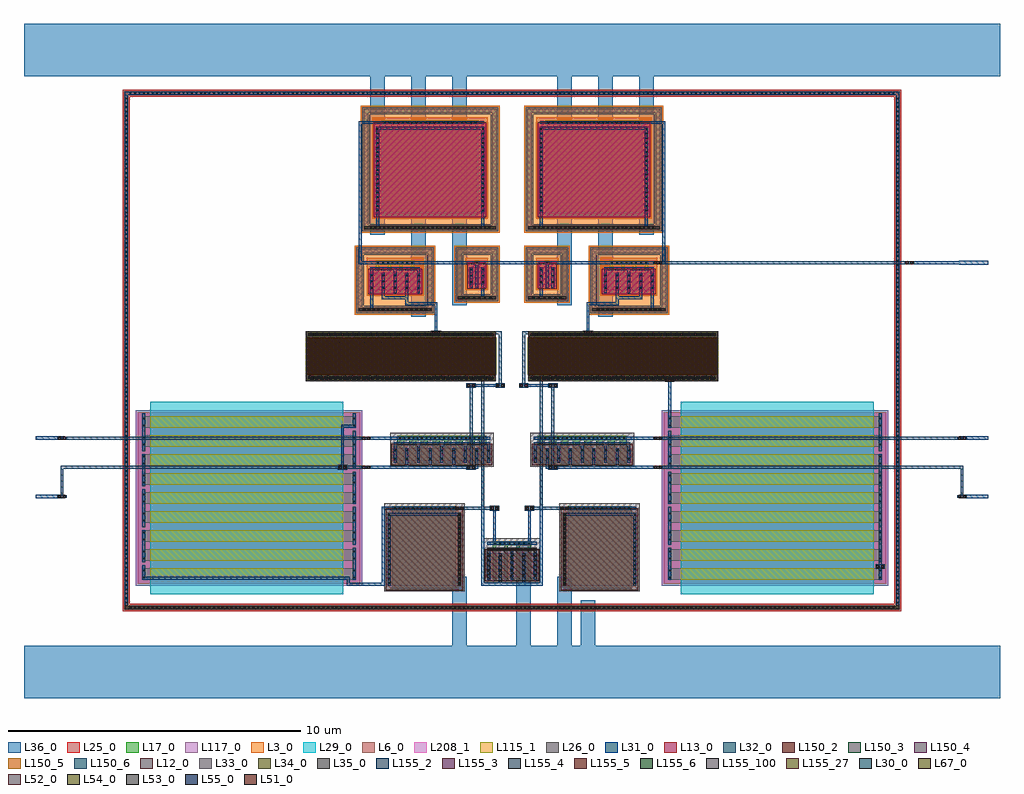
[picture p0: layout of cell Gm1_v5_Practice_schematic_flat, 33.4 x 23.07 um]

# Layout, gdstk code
import gdstk
lib = gdstk.Library(unit=1e-6, precision=1e-09)
def R(c, l, rs):  # rectangles x0, y0, x1, y1
    for r in rs: c.add(gdstk.rectangle(r[:2], r[2:], *l))
def A(c, l, x, y, w, h, nx, ny, dx, dy):  # array of equal rectangles
    R(c, l, [(x+i*dx, y+j*dy, x+i*dx+w, y+j*dy+h) for i in range(nx) for j in range(ny)])
L3_0 = (3, 0)
L6_0 = (6, 0)
L12_0 = (12, 0)
L13_0 = (13, 0)
L17_0 = (17, 0)
L25_0 = (25, 0)
L26_0 = (26, 0)
L29_0 = (29, 0)
L30_0 = (30, 0)
L31_0 = (31, 0)
L32_0 = (32, 0)
L33_0 = (33, 0)
L34_0 = (34, 0)
L35_0 = (35, 0)
L36_0 = (36, 0)
L51_0 = (51, 0)
L52_0 = (52, 0)
L53_0 = (53, 0)
L54_0 = (54, 0)
L55_0 = (55, 0)
L67_0 = (67, 0)
L115_1 = (115, 1)
L117_0 = (117, 0)
L150_2 = (150, 2)
L150_3 = (150, 3)
L150_4 = (150, 4)
L150_5 = (150, 5)
L150_6 = (150, 6)
L155_2 = (155, 2)
L155_3 = (155, 3)
L155_4 = (155, 4)
L155_5 = (155, 5)
L155_6 = (155, 6)
L155_27 = (155, 27)
L155_100 = (155, 100)
L208_1 = (208, 1)

gm1_v5_practice_schemati = lib.new_cell('Gm1_v5_Practice_schematic_flat')
R(gm1_v5_practice_schemati, L3_0, [(10.425,9.225,13.175,11.575), (18.425,9.225,21.175,11.575), (13.825,9.625,15.375,11.575), (16.225,9.625,17.775,11.575), (10.875,9.915,12.725,10.8), (18.875,9.915,20.725,10.8), (14.275,10.115,14.925,11), (16.675,10.115,17.325,11), (10.625,12.025,15.375,16.375), (16.225,12.025,20.975,16.375), (11.075,12.55,14.925,15.8), (16.675,12.55,20.525,15.8)])
A(gm1_v5_practice_schemati, L6_0, 13.925, 9.725, 0.15, 0.15, 4, 2, 1.2, 1.6)
A(gm1_v5_practice_schemati, L6_0, 13.925, 9.875, 0.15, 1.45, 4, 1, 1.2, 0)
R(gm1_v5_practice_schemati, L6_0, [(2.525,-0.875,2.675,-0.725), (2.675,-0.875,28.925,-0.725), (28.925,-0.875,29.075,-0.725), (2.525,-0.725,2.675,16.725), (28.925,-0.725,29.075,16.725), (11.525,-0.05,14.075,2.45), (17.525,-0.05,20.075,2.45), (14.925,0.245,16.675,1.05), (11.725,4.225,15.075,4.65), (16.525,4.225,19.875,4.65), (10.525,9.325,10.675,9.475), (10.675,9.325,12.925,9.475), (12.925,9.325,13.075,9.475), (18.525,9.325,18.675,9.475), (18.675,9.325,20.925,9.475), (20.925,9.325,21.075,9.475), (10.525,9.475,10.675,11.325), (12.925,9.475,13.075,11.325), (18.525,9.475,18.675,11.325), (20.925,9.475,21.075,11.325), (14.075,9.725,15.125,9.875), (16.475,9.725,17.525,9.875), (10.925,10.065,12.675,10.65), (18.925,10.065,20.675,10.65), (14.325,10.265,14.875,10.85), (16.725,10.265,17.275,10.85), (10.525,11.325,10.675,11.475), (10.675,11.325,12.925,11.475), (12.925,11.325,13.075,11.475), (14.075,11.325,15.125,11.475), (16.475,11.325,17.525,11.475), (18.525,11.325,18.675,11.475), (18.675,11.325,20.925,11.475), (20.925,11.325,21.075,11.475), (10.725,12.125,10.875,12.275), (10.875,12.125,15.125,12.275), (15.125,12.125,15.275,12.275), (16.325,12.125,16.475,12.275), (16.475,12.125,20.725,12.275), (20.725,12.125,20.875,12.275), (10.725,12.275,10.875,16.125), (15.125,12.275,15.275,16.125), (16.325,12.275,16.475,16.125), (20.725,12.275,20.875,16.125), (11.125,12.7,14.875,15.65), (16.725,12.7,20.475,15.65), (10.725,16.125,10.875,16.275), (10.875,16.125,15.125,16.275), (15.125,16.125,15.275,16.275), (16.325,16.125,16.475,16.275), (16.475,16.125,20.725,16.275), (20.725,16.125,20.875,16.275), (2.525,16.725,2.675,16.875), (2.675,16.725,28.925,16.875), (28.925,16.725,29.075,16.875)])
R(gm1_v5_practice_schemati, L12_0, [(11.475,-0.2,14.125,2.6), (17.475,-0.2,20.125,2.6), (11.675,4.075,15.125,4.8), (16.475,4.075,19.925,4.8)])
R(gm1_v5_practice_schemati, L13_0, [(10.875,9.915,12.725,10.8), (18.875,9.915,20.725,10.8), (14.275,10.115,14.925,11), (16.675,10.115,17.325,11), (11.075,12.55,14.925,15.8), (16.675,12.55,20.525,15.8)])
A(gm1_v5_practice_schemati, L17_0, 15.14, 0.145, 0.12, 1.005, 4, 1, 0.4, 0)
A(gm1_v5_practice_schemati, L17_0, 3.125, 0.15, 7.35, 0.4, 1, 9, 0, 0.65)
A(gm1_v5_practice_schemati, L17_0, 21.125, 0.15, 7.35, 0.4, 1, 9, 0, 0.65)
A(gm1_v5_practice_schemati, L17_0, 15.14, 1.05, 0.12, 0.3, 4, 1, 0.4, 0)
A(gm1_v5_practice_schemati, L17_0, 11.88, 4.125, 0.24, 0.625, 8, 1, 0.4, 0)
A(gm1_v5_practice_schemati, L17_0, 16.68, 4.125, 0.24, 0.625, 8, 1, 0.4, 0)
A(gm1_v5_practice_schemati, L17_0, 11.88, 4.65, 0.24, 0.3, 8, 1, 0.4, 0)
A(gm1_v5_practice_schemati, L17_0, 16.68, 4.65, 0.24, 0.3, 8, 1, 0.4, 0)
A(gm1_v5_practice_schemati, L17_0, 11.14, 9.965, 0.12, 0.785, 4, 1, 0.4, 0)
A(gm1_v5_practice_schemati, L17_0, 19.14, 9.965, 0.12, 0.785, 4, 1, 0.4, 0)
A(gm1_v5_practice_schemati, L17_0, 11.14, 10.65, 0.12, 0.3, 4, 1, 0.4, 0)
A(gm1_v5_practice_schemati, L17_0, 19.14, 10.65, 0.12, 0.3, 4, 1, 0.4, 0)
R(gm1_v5_practice_schemati, L17_0, [(11.7,-0.15,13.9,2.55), (17.7,-0.15,19.9,2.55), (15.14,1.325,16.46,1.475), (11.7,2.45,13.9,2.675), (17.7,2.45,19.9,2.675), (11.88,4.925,14.92,5.075), (16.68,4.925,19.72,5.075), (14.54,10.165,14.66,10.95), (16.94,10.165,17.06,10.95), (14.54,10.85,14.66,10.925), (16.94,10.85,17.06,10.925), (11.14,10.925,12.46,11.075), (14.525,10.925,14.675,11.075), (16.925,10.925,17.075,11.075), (19.14,10.925,20.46,11.075), (11.35,12.6,14.65,15.75), (16.95,12.6,20.25,15.75), (11.35,15.65,14.65,15.875), (16.95,15.65,20.25,15.875)])
R(gm1_v5_practice_schemati, L25_0, [(2.475,-0.925,2.725,-0.675), (2.675,-0.925,28.925,-0.675), (28.875,-0.925,29.125,-0.675), (2.475,-0.725,2.725,16.725), (28.875,-0.725,29.125,16.725), (2.985,0.01,10.615,5.89), (20.985,0.01,28.615,5.89), (10.825,9.865,12.775,11.175), (18.825,9.865,20.775,11.175), (14.225,10.065,14.975,11.175), (16.625,10.065,17.375,11.175), (11.025,12.5,14.975,15.975), (16.625,12.5,20.575,15.975), (2.475,16.675,2.725,16.925), (2.675,16.675,28.925,16.925), (28.875,16.675,29.125,16.925)])
A(gm1_v5_practice_schemati, L26_0, 13.875, 9.675, 0.25, 0.25, 4, 2, 1.2, 1.6)
A(gm1_v5_practice_schemati, L26_0, 13.875, 9.875, 0.25, 1.45, 4, 1, 1.2, 0)
R(gm1_v5_practice_schemati, L26_0, [(11.425,-0.25,14.175,2.775), (17.425,-0.25,20.175,2.775), (14.825,0.045,16.775,1.575), (11.625,4.025,15.175,5.175), (16.425,4.025,19.975,5.175), (10.475,9.275,10.725,9.525), (10.675,9.275,12.925,9.525), (12.875,9.275,13.125,9.525), (18.475,9.275,18.725,9.525), (18.675,9.275,20.925,9.525), (20.875,9.275,21.125,9.525), (10.475,9.475,10.725,11.325), (12.875,9.475,13.125,11.325), (18.475,9.475,18.725,11.325), (20.875,9.475,21.125,11.325), (14.075,9.675,15.125,9.925), (16.475,9.675,17.525,9.925), (10.475,11.275,10.725,11.525), (10.675,11.275,12.925,11.525), (12.875,11.275,13.125,11.525), (14.075,11.275,15.125,11.525), (16.475,11.275,17.525,11.525), (18.475,11.275,18.725,11.525), (18.675,11.275,20.925,11.525), (20.875,11.275,21.125,11.525), (10.675,12.075,10.925,12.325), (10.875,12.075,15.125,12.325), (15.075,12.075,15.325,12.325), (16.275,12.075,16.525,12.325), (16.475,12.075,20.725,12.325), (20.675,12.075,20.925,12.325), (10.675,12.275,10.925,16.125), (15.075,12.275,15.325,16.125), (16.275,12.275,16.525,16.125), (20.675,12.275,20.925,16.125), (10.675,16.075,10.925,16.325), (10.875,16.075,15.125,16.325), (15.075,16.075,15.325,16.325), (16.275,16.075,16.525,16.325), (16.475,16.075,20.725,16.325), (20.675,16.075,20.925,16.325)])
R(gm1_v5_practice_schemati, L29_0, [(3.425,-0.35,10.025,6.25), (21.575,-0.35,28.175,6.25)])
A(gm1_v5_practice_schemati, L30_0, 2.725, -0.825, 0.05, 0.05, 175, 2, 0.15, 17.6)
A(gm1_v5_practice_schemati, L30_0, 2.575, -0.65, 0.05, 0.05, 1, 116, 0, 0.15)
A(gm1_v5_practice_schemati, L30_0, 28.975, -0.65, 0.05, 0.05, 1, 116, 0, 0.15)
A(gm1_v5_practice_schemati, L30_0, 11.575, 0.01, 0.05, 0.05, 1, 16, 0, 0.155)
A(gm1_v5_practice_schemati, L30_0, 13.975, 0.01, 0.05, 0.05, 1, 16, 0, 0.155)
A(gm1_v5_practice_schemati, L30_0, 17.575, 0.01, 0.05, 0.05, 1, 16, 0, 0.155)
A(gm1_v5_practice_schemati, L30_0, 19.975, 0.01, 0.05, 0.05, 1, 16, 0, 0.155)
A(gm1_v5_practice_schemati, L30_0, 14.975, 0.3, 0.05, 0.05, 5, 5, 0.4, 0.16)
A(gm1_v5_practice_schemati, L30_0, 15.195, 1.375, 0.05, 0.05, 8, 1, 0.165, 0)
A(gm1_v5_practice_schemati, L30_0, 11.765, 2.575, 0.05, 0.05, 14, 1, 0.155, 0)
A(gm1_v5_practice_schemati, L30_0, 17.77, 2.575, 0.05, 0.05, 14, 1, 0.155, 0)
A(gm1_v5_practice_schemati, L30_0, 11.775, 4.275, 0.05, 0.05, 9, 2, 0.4, 0.275)
A(gm1_v5_practice_schemati, L30_0, 16.575, 4.275, 0.05, 0.05, 9, 2, 0.4, 0.275)
A(gm1_v5_practice_schemati, L30_0, 11.945, 4.975, 0.05, 0.05, 20, 1, 0.15, 0)
A(gm1_v5_practice_schemati, L30_0, 16.755, 4.975, 0.05, 0.05, 20, 1, 0.15, 0)
A(gm1_v5_practice_schemati, L30_0, 10.735, 9.375, 0.05, 0.05, 14, 1, 0.16, 0)
A(gm1_v5_practice_schemati, L30_0, 18.735, 9.375, 0.05, 0.05, 14, 1, 0.16, 0)
A(gm1_v5_practice_schemati, L30_0, 14.125, 9.775, 0.05, 0.05, 6, 1, 0.18, 0)
A(gm1_v5_practice_schemati, L30_0, 16.525, 9.775, 0.05, 0.05, 6, 1, 0.18, 0)
A(gm1_v5_practice_schemati, L30_0, 10.975, 10.115, 0.05, 0.05, 5, 3, 0.4, 0.215)
A(gm1_v5_practice_schemati, L30_0, 18.975, 10.115, 0.05, 0.05, 5, 3, 0.4, 0.215)
A(gm1_v5_practice_schemati, L30_0, 14.375, 10.315, 0.05, 0.05, 1, 3, 0, 0.215)
A(gm1_v5_practice_schemati, L30_0, 14.775, 10.315, 0.05, 0.05, 1, 3, 0, 0.215)
A(gm1_v5_practice_schemati, L30_0, 16.775, 10.315, 0.05, 0.05, 1, 3, 0, 0.215)
A(gm1_v5_practice_schemati, L30_0, 17.175, 10.315, 0.05, 0.05, 1, 3, 0, 0.215)
A(gm1_v5_practice_schemati, L30_0, 11.195, 10.975, 0.05, 0.05, 8, 1, 0.165, 0)
A(gm1_v5_practice_schemati, L30_0, 19.2, 10.975, 0.05, 0.05, 8, 1, 0.165, 0)
A(gm1_v5_practice_schemati, L30_0, 10.95, 12.175, 0.05, 0.05, 28, 1, 0.15, 0)
A(gm1_v5_practice_schemati, L30_0, 16.55, 12.175, 0.05, 0.05, 28, 1, 0.15, 0)
A(gm1_v5_practice_schemati, L30_0, 11.175, 12.755, 0.05, 0.05, 1, 19, 0, 0.155)
A(gm1_v5_practice_schemati, L30_0, 14.775, 12.755, 0.05, 0.05, 1, 19, 0, 0.155)
A(gm1_v5_practice_schemati, L30_0, 16.775, 12.755, 0.05, 0.05, 1, 19, 0, 0.155)
A(gm1_v5_practice_schemati, L30_0, 20.375, 12.755, 0.05, 0.05, 1, 19, 0, 0.155)
A(gm1_v5_practice_schemati, L30_0, 11.42, 15.775, 0.05, 0.05, 21, 1, 0.155, 0)
A(gm1_v5_practice_schemati, L30_0, 17.03, 15.775, 0.05, 0.05, 21, 1, 0.155, 0)
R(gm1_v5_practice_schemati, L30_0, [(3.175,0.2,3.225,0.25), (10.375,0.2,10.425,0.25), (21.175,0.2,21.225,0.25), (28.375,0.2,28.425,0.25), (3.175,0.45,3.225,0.5), (10.375,0.45,10.425,0.5), (21.175,0.45,21.225,0.5), (28.375,0.45,28.425,0.5), (3.175,0.85,3.225,0.9), (10.375,0.85,10.425,0.9), (21.175,0.85,21.225,0.9), (28.375,0.85,28.425,0.9), (3.175,1.1,3.225,1.15), (10.375,1.1,10.425,1.15), (21.175,1.1,21.225,1.15), (28.375,1.1,28.425,1.15), (3.175,1.5,3.225,1.55), (10.375,1.5,10.425,1.55), (21.175,1.5,21.225,1.55), (28.375,1.5,28.425,1.55), (3.175,1.75,3.225,1.8), (10.375,1.75,10.425,1.8), (21.175,1.75,21.225,1.8), (28.375,1.75,28.425,1.8), (3.175,2.15,3.225,2.2), (10.375,2.15,10.425,2.2), (21.175,2.15,21.225,2.2), (28.375,2.15,28.425,2.2), (3.175,2.4,3.225,2.45), (10.375,2.4,10.425,2.45), (21.175,2.4,21.225,2.45), (28.375,2.4,28.425,2.45), (3.175,2.8,3.225,2.85), (10.375,2.8,10.425,2.85), (21.175,2.8,21.225,2.85), (28.375,2.8,28.425,2.85), (3.175,3.05,3.225,3.1), (10.375,3.05,10.425,3.1), (21.175,3.05,21.225,3.1), (28.375,3.05,28.425,3.1), (3.175,3.45,3.225,3.5), (10.375,3.45,10.425,3.5), (21.175,3.45,21.225,3.5), (28.375,3.45,28.425,3.5), (3.175,3.7,3.225,3.75), (10.375,3.7,10.425,3.75), (21.175,3.7,21.225,3.75), (28.375,3.7,28.425,3.75), (3.175,4.1,3.225,4.15), (10.375,4.1,10.425,4.15), (21.175,4.1,21.225,4.15), (28.375,4.1,28.425,4.15), (3.175,4.35,3.225,4.4), (10.375,4.35,10.425,4.4), (21.175,4.35,21.225,4.4), (28.375,4.35,28.425,4.4), (3.175,4.75,3.225,4.8), (10.375,4.75,10.425,4.8), (21.175,4.75,21.225,4.8), (28.375,4.75,28.425,4.8), (3.175,5,3.225,5.05), (10.375,5,10.425,5.05), (21.175,5,21.225,5.05), (28.375,5,28.425,5.05), (3.175,5.4,3.225,5.45), (10.375,5.4,10.425,5.45), (21.175,5.4,21.225,5.45), (28.375,5.4,28.425,5.45), (3.175,5.65,3.225,5.7), (10.375,5.65,10.425,5.7), (21.175,5.65,21.225,5.7), (28.375,5.65,28.425,5.7), (14.575,10.975,14.625,11.025), (16.975,10.975,17.025,11.025)])
A(gm1_v5_practice_schemati, L31_0, 14.95, 0.15, 0.1, 0.9, 5, 1, 0.4, 0)
A(gm1_v5_practice_schemati, L31_0, 14.95, 0.245, 0.1, 0.805, 5, 1, 0.4, 0)
A(gm1_v5_practice_schemati, L31_0, 14.95, 1.05, 0.1, 0.1, 3, 1, 0.8, 0)
A(gm1_v5_practice_schemati, L31_0, 12.15, 4.05, 0.1, 0.1, 4, 1, 0.8, 0)
A(gm1_v5_practice_schemati, L31_0, 16.95, 4.05, 0.1, 0.1, 4, 1, 0.8, 0)
A(gm1_v5_practice_schemati, L31_0, 11.75, 4.15, 0.1, 0.5, 9, 1, 0.4, 0)
A(gm1_v5_practice_schemati, L31_0, 16.55, 4.15, 0.1, 0.5, 9, 1, 0.4, 0)
A(gm1_v5_practice_schemati, L31_0, 11.75, 4.225, 0.1, 0.425, 9, 1, 0.4, 0)
A(gm1_v5_practice_schemati, L31_0, 16.55, 4.225, 0.1, 0.425, 9, 1, 0.4, 0)
A(gm1_v5_practice_schemati, L31_0, 11.75, 4.65, 0.1, 0.1, 5, 1, 0.8, 0)
A(gm1_v5_practice_schemati, L31_0, 16.55, 4.65, 0.1, 0.1, 5, 1, 0.8, 0)
A(gm1_v5_practice_schemati, L31_0, 13.95, 9.75, 0.1, 0.1, 4, 1, 1.2, 0)
A(gm1_v5_practice_schemati, L31_0, 10.95, 9.95, 0.1, 0.7, 5, 1, 0.4, 0)
A(gm1_v5_practice_schemati, L31_0, 18.95, 9.95, 0.1, 0.7, 5, 1, 0.4, 0)
A(gm1_v5_practice_schemati, L31_0, 10.95, 10.065, 0.1, 0.585, 5, 1, 0.4, 0)
A(gm1_v5_practice_schemati, L31_0, 18.95, 10.065, 0.1, 0.585, 5, 1, 0.4, 0)
A(gm1_v5_practice_schemati, L31_0, 10.95, 10.65, 0.1, 0.1, 3, 1, 0.8, 0)
A(gm1_v5_practice_schemati, L31_0, 18.95, 10.65, 0.1, 0.1, 3, 1, 0.8, 0)
R(gm1_v5_practice_schemati, L31_0, [(2.55,-0.85,2.65,-0.75), (2.65,-0.85,2.675,-0.75), (2.675,-0.85,28.925,-0.75), (28.925,-0.85,28.95,-0.75), (28.95,-0.85,29.05,-0.75), (2.55,-0.75,2.65,-0.725), (28.95,-0.75,29.05,-0.725), (2.55,-0.725,2.65,16.725), (28.95,-0.725,29.05,16.725), (10.15,-0.05,10.25,0.25), (10.15,-0.05,11.45,0.05), (11.35,-0.05,11.45,2.65), (11.55,-0.05,11.65,2.45), (11.55,-0.05,11.65,2.45), (13.95,-0.05,14.05,2.45), (13.95,-0.05,14.05,2.45), (14.75,-0.05,15.45,0.05), (14.75,-0.05,14.85,4.85), (15.35,-0.05,16.25,0.05), (16.15,-0.05,16.85,0.05), (16.75,-0.05,16.85,4.85), (17.55,-0.05,17.65,2.45), (17.55,-0.05,17.65,2.45), (19.95,-0.05,20.05,2.45), (19.95,-0.05,20.05,2.45), (15.35,0.05,15.45,0.15), (16.15,0.05,16.25,0.15), (3.15,0.15,3.25,0.55), (3.15,0.15,3.25,0.55), (3.15,0.15,3.25,0.65), (3.15,0.15,10.25,0.25), (10.35,0.15,10.45,0.55), (10.35,0.15,10.45,0.55), (10.35,0.15,10.45,1.25), (21.15,0.15,21.25,0.55), (21.15,0.15,21.25,0.55), (21.15,0.15,21.25,1.25), (28.35,0.15,28.45,0.55), (28.35,0.15,28.45,0.55), (28.35,0.15,28.45,0.65), (28.24,0.52,28.56,0.68), (3.15,0.75,3.25,1.85), (28.35,0.75,28.45,1.85), (3.15,0.8,3.25,1.2), (3.15,0.8,3.25,1.2), (10.35,0.8,10.45,1.2), (10.35,0.8,10.45,1.2), (21.15,0.8,21.25,1.2), (21.15,0.8,21.25,1.2), (28.35,0.8,28.45,1.2), (28.35,0.8,28.45,1.2), (14.95,1.15,16.65,1.25), (10.35,1.35,10.45,2.65), (14.95,1.35,16.65,1.45), (15.14,1.35,16.46,1.45), (15.15,1.35,15.25,2.65), (16.35,1.35,16.45,2.65), (21.15,1.35,21.25,2.65), (3.15,1.45,3.25,1.85), (3.15,1.45,3.25,1.85), (10.35,1.45,10.45,1.85), (10.35,1.45,10.45,1.85), (21.15,1.45,21.25,1.85), (21.15,1.45,21.25,1.85), (28.35,1.45,28.45,1.85), (28.35,1.45,28.45,1.85), (3.15,1.95,3.25,3.25), (28.35,1.95,28.45,3.25), (3.15,2.1,3.25,2.5), (3.15,2.1,3.25,2.5), (10.35,2.1,10.45,2.5), (10.35,2.1,10.45,2.5), (21.15,2.1,21.25,2.5), (21.15,2.1,21.25,2.5), (28.35,2.1,28.45,2.5), (28.35,2.1,28.45,2.5), (11.55,2.35,14.05,2.45), (17.55,2.35,20.05,2.45), (15.04,2.52,15.36,2.68), (16.24,2.52,16.56,2.68), (11.35,2.55,11.65,2.65), (11.55,2.55,14.05,2.65), (11.7,2.55,13.9,2.65), (13.84,2.55,14.16,2.65), (17.44,2.55,17.76,2.65), (17.55,2.55,20.05,2.65), (17.7,2.55,19.9,2.65), (3.15,2.75,3.25,3.15), (3.15,2.75,3.25,3.15), (10.35,2.75,10.45,3.15), (10.35,2.75,10.45,3.15), (10.35,2.75,10.45,3.85), (21.15,2.75,21.25,3.15), (21.15,2.75,21.25,3.15), (21.15,2.75,21.25,3.85), (28.35,2.75,28.45,3.15), (28.35,2.75,28.45,3.15), (-0.5,2.935,0.5,3.065), (31.1,2.935,32.1,3.065), (0.24,2.95,0.56,3.05), (31.04,2.95,31.36,3.05), (3.15,3.35,3.25,4.45), (28.35,3.35,28.45,4.45), (3.15,3.4,3.25,3.8), (3.15,3.4,3.25,3.8), (10.35,3.4,10.45,3.8), (10.35,3.4,10.45,3.8), (21.15,3.4,21.25,3.8), (21.15,3.4,21.25,3.8), (28.35,3.4,28.45,3.8), (28.35,3.4,28.45,3.8), (9.84,3.92,10.16,4.08), (14.24,3.92,14.56,4.08), (17.04,3.92,17.36,4.08), (9.95,3.95,10.05,5.45), (10.35,3.95,10.45,5.25), (10.64,3.95,10.96,4.05), (10.75,3.95,12.25,4.05), (12.15,3.95,14.65,4.05), (16.95,3.95,19.45,4.05), (19.35,3.95,20.85,4.05), (20.64,3.95,20.96,4.05), (21.15,3.95,21.25,5.25), (3.15,4.05,3.25,4.45), (3.15,4.05,3.25,4.45), (10.35,4.05,10.45,4.45), (10.35,4.05,10.45,4.45), (21.15,4.05,21.25,4.45), (21.15,4.05,21.25,4.45), (28.35,4.05,28.45,4.45), (28.35,4.05,28.45,4.45), (3.15,4.55,3.25,5.85), (28.35,4.55,28.45,5.85), (3.15,4.7,3.25,5.1), (3.15,4.7,3.25,5.1), (10.35,4.7,10.45,5.1), (10.35,4.7,10.45,5.1), (21.15,4.7,21.25,5.1), (21.15,4.7,21.25,5.1), (28.35,4.7,28.45,5.1), (28.35,4.7,28.45,5.1), (11.75,4.75,15.05,4.85), (16.55,4.75,19.85,4.85), (-0.5,4.935,0.5,5.065), (31.1,4.935,32.1,5.065), (0.24,4.95,0.56,5.05), (10.64,4.95,10.96,5.05), (10.75,4.95,11.85,5.05), (11.75,4.95,15.05,5.05), (11.88,4.95,14.92,5.05), (16.55,4.95,19.85,5.05), (16.68,4.95,19.72,5.05), (19.75,4.95,20.85,5.05), (20.64,4.95,20.96,5.05), (31.04,4.95,31.36,5.05), (3.15,5.35,3.25,5.75), (3.15,5.35,3.25,5.75), (9.95,5.35,10.45,5.45), (10.35,5.35,10.45,5.75), (10.35,5.35,10.45,5.75), (10.35,5.35,10.45,5.85), (21.15,5.35,21.25,5.75), (21.15,5.35,21.25,5.75), (21.15,5.35,21.25,5.85), (28.35,5.35,28.45,5.75), (28.35,5.35,28.45,5.75), (21.15,5.75,21.25,7.05), (14.24,6.72,14.56,6.88), (15.24,6.72,15.56,6.88), (16.04,6.72,16.36,6.88), (17.04,6.72,17.36,6.88), (14.35,6.75,15.45,6.85), (16.15,6.75,17.25,6.85), (21.04,6.92,21.36,7.08), (13.04,8.52,13.36,8.68), (18.24,8.52,18.56,8.68), (13.15,8.55,13.25,9.65), (18.35,8.55,18.45,9.65), (10.55,9.35,10.65,9.45), (10.65,9.35,10.675,9.45), (10.675,9.35,12.925,9.45), (10.95,9.35,11.05,10.75), (12.925,9.35,12.95,9.45), (12.95,9.35,13.05,9.45), (18.55,9.35,18.65,9.45), (18.65,9.35,18.675,9.45), (18.675,9.35,20.925,9.45), (20.55,9.35,20.65,10.75), (20.925,9.35,20.95,9.45), (20.95,9.35,21.05,9.45), (12.15,9.55,13.25,9.65), (12.15,9.55,12.25,9.85), (18.35,9.55,19.45,9.65), (19.35,9.55,19.45,9.85), (11.35,9.75,12.25,9.85), (14.05,9.75,14.075,9.85), (14.075,9.75,15.125,9.85), (14.75,9.75,14.85,10.15), (15.125,9.75,15.15,9.85), (16.45,9.75,16.475,9.85), (16.475,9.75,17.525,9.85), (16.75,9.75,16.85,10.15), (17.525,9.75,17.55,9.85), (19.35,9.75,20.25,9.85), (11.35,9.85,11.45,9.95), (12.15,9.85,12.25,9.95), (19.35,9.85,19.45,9.95), (20.15,9.85,20.25,9.95), (14.35,10.15,14.45,10.85), (14.55,10.15,14.65,11.05), (14.75,10.15,14.85,10.85), (16.75,10.15,16.85,10.85), (16.95,10.15,17.05,11.05), (17.15,10.15,17.25,10.85), (14.35,10.265,14.45,10.85), (14.75,10.265,14.85,10.85), (16.75,10.265,16.85,10.85), (17.15,10.265,17.25,10.85), (10.95,10.75,12.65,10.85), (18.95,10.75,20.65,10.85), (31.1,10.935,32.1,11.065), (10.55,10.95,11.05,11.05), (10.55,10.95,10.65,15.85), (10.95,10.95,12.65,11.05), (11.14,10.95,12.46,11.05), (12.55,10.95,14.45,11.05), (14.35,10.95,14.85,11.05), (14.75,10.95,15.85,11.05), (15.75,10.95,16.85,11.05), (16.75,10.95,17.25,11.05), (17.15,10.95,19.05,11.05), (18.95,10.95,20.65,11.05), (19.14,10.95,20.46,11.05), (20.55,10.95,21.05,11.05), (20.64,10.95,20.96,11.05), (20.95,10.95,21.05,15.85), (29.24,10.95,29.56,11.05), (29.35,10.95,31.25,11.05), (10.75,12.15,10.85,12.25), (10.85,12.15,10.875,12.25), (10.875,12.15,15.125,12.25), (11.15,12.15,11.25,12.55), (14.75,12.15,14.85,15.65), (15.125,12.15,15.15,12.25), (15.15,12.15,15.25,12.25), (16.35,12.15,16.45,12.25), (16.45,12.15,16.475,12.25), (16.475,12.15,20.725,12.25), (16.75,12.15,16.85,15.65), (20.35,12.15,20.45,12.55), (20.725,12.15,20.75,12.25), (20.75,12.15,20.85,12.25), (11.15,12.55,11.25,15.65), (14.75,12.55,14.85,15.65), (16.75,12.55,16.85,15.65), (20.35,12.55,20.45,15.65), (11.15,12.7,11.25,15.65), (14.75,12.7,14.85,15.65), (16.75,12.7,16.85,15.65), (20.35,12.7,20.45,15.65), (11.15,15.55,14.85,15.65), (16.75,15.55,20.45,15.65), (10.55,15.75,11.25,15.85), (11.15,15.75,14.85,15.85), (11.35,15.75,14.65,15.85), (16.75,15.75,20.45,15.85), (16.95,15.75,20.25,15.85), (20.35,15.75,21.05,15.85), (2.55,16.725,2.65,16.75), (28.95,16.725,29.05,16.75), (2.55,16.75,2.65,16.85), (2.65,16.75,2.675,16.85), (2.675,16.75,28.925,16.85), (28.925,16.75,28.95,16.85), (28.95,16.75,29.05,16.85)])
A(gm1_v5_practice_schemati, L32_0, 8.75, 7.16, 0.07, 0.14, 23, 1, 0.28, 0)
A(gm1_v5_practice_schemati, L32_0, 16.62, 7.16, 0.07, 0.14, 23, 1, 0.28, 0)
A(gm1_v5_practice_schemati, L32_0, 8.75, 7.3, 0.07, 1, 46, 1, 0.14, 0)
A(gm1_v5_practice_schemati, L32_0, 16.48, 7.3, 0.07, 1, 46, 1, 0.14, 0)
A(gm1_v5_practice_schemati, L32_0, 8.89, 8.3, 0.07, 0.14, 23, 1, 0.28, 0)
A(gm1_v5_practice_schemati, L32_0, 16.48, 8.3, 0.07, 0.14, 23, 1, 0.28, 0)
A(gm1_v5_practice_schemati, L32_0, 13.95, 9.75, 0.1, 0.1, 4, 1, 1.2, 0)
R(gm1_v5_practice_schemati, L32_0, [(2.55,-0.85,2.65,-0.75), (2.65,-0.85,2.675,-0.75), (2.675,-0.85,28.925,-0.75), (28.925,-0.85,28.95,-0.75), (28.95,-0.85,29.05,-0.75), (2.55,-0.75,2.65,-0.725), (28.95,-0.75,29.05,-0.725), (13.95,-0.05,14.05,2.45), (17.55,-0.05,17.65,2.45), (28.24,0.52,28.56,0.68), (28.35,0.55,28.45,4.05), (14.95,1.15,16.65,1.25), (15.04,2.52,15.36,2.68), (16.24,2.52,16.56,2.68), (13.84,2.55,14.16,2.65), (13.95,2.55,15.25,2.65), (14.75,2.55,14.85,7.05), (16.35,2.55,17.65,2.65), (16.75,2.55,16.85,7.05), (17.44,2.55,17.76,2.65), (0.24,2.95,0.56,3.05), (0.35,2.95,0.45,4.05), (31.04,2.95,31.36,3.05), (31.15,2.95,31.25,4.05), (9.84,3.92,10.16,4.08), (14.24,3.92,14.56,4.08), (17.04,3.92,17.36,4.08), (0.35,3.95,10.85,4.05), (10.64,3.95,10.96,4.05), (14.35,3.95,14.45,6.85), (17.15,3.95,17.25,6.85), (20.64,3.95,20.96,4.05), (20.75,3.95,31.25,4.05), (0.24,4.95,0.56,5.05), (0.35,4.95,10.85,5.05), (10.64,4.95,10.96,5.05), (20.64,4.95,20.96,5.05), (20.75,4.95,31.25,5.05), (31.04,4.95,31.36,5.05), (14.24,6.72,14.56,6.88), (15.24,6.72,15.56,6.88), (16.04,6.72,16.36,6.88), (17.04,6.72,17.36,6.88), (15.35,6.75,15.45,8.65), (16.15,6.75,16.25,8.65), (21.04,6.92,21.36,7.08), (8.75,6.95,15.25,7.16), (16.35,6.95,22.85,7.16), (8.75,8.44,15.25,8.65), (16.35,8.44,22.85,8.65), (13.04,8.52,13.36,8.68), (18.24,8.52,18.56,8.68), (15.15,8.55,15.45,8.65), (16.15,8.55,16.45,8.65), (10.55,9.35,10.65,9.45), (10.65,9.35,10.675,9.45), (10.675,9.35,12.925,9.45), (12.925,9.35,12.95,9.45), (12.95,9.35,13.05,9.45), (18.55,9.35,18.65,9.45), (18.65,9.35,18.675,9.45), (18.675,9.35,20.925,9.45), (20.925,9.35,20.95,9.45), (20.95,9.35,21.05,9.45), (14.05,9.75,14.075,9.85), (14.075,9.75,15.125,9.85), (15.125,9.75,15.15,9.85), (16.45,9.75,16.475,9.85), (16.475,9.75,17.525,9.85), (17.525,9.75,17.55,9.85), (20.64,10.95,20.96,11.05), (20.75,10.95,29.45,11.05), (29.24,10.95,29.56,11.05), (10.75,12.15,10.85,12.25), (10.85,12.15,10.875,12.25), (10.875,12.15,15.125,12.25), (15.125,12.15,15.15,12.25), (15.15,12.15,15.25,12.25), (16.35,12.15,16.45,12.25), (16.45,12.15,16.475,12.25), (16.475,12.15,20.725,12.25), (20.725,12.15,20.75,12.25), (20.75,12.15,20.85,12.25)])
A(gm1_v5_practice_schemati, L33_0, 8.75, 7.16, 0.07, 0.14, 23, 1, 0.28, 0)
A(gm1_v5_practice_schemati, L33_0, 16.62, 7.16, 0.07, 0.14, 23, 1, 0.28, 0)
A(gm1_v5_practice_schemati, L33_0, 8.75, 7.3, 0.07, 1, 46, 1, 0.14, 0)
A(gm1_v5_practice_schemati, L33_0, 16.48, 7.3, 0.07, 1, 46, 1, 0.14, 0)
A(gm1_v5_practice_schemati, L33_0, 8.89, 8.3, 0.07, 0.14, 23, 1, 0.28, 0)
A(gm1_v5_practice_schemati, L33_0, 16.48, 8.3, 0.07, 0.14, 23, 1, 0.28, 0)
A(gm1_v5_practice_schemati, L33_0, 13.95, 9.75, 0.1, 0.1, 4, 1, 1.2, 0)
R(gm1_v5_practice_schemati, L33_0, [(2.55,-0.85,2.65,-0.75), (2.65,-0.85,2.675,-0.75), (2.675,-0.85,28.925,-0.75), (28.925,-0.85,28.95,-0.75), (28.95,-0.85,29.05,-0.75), (2.55,-0.75,2.65,-0.725), (28.95,-0.75,29.05,-0.725), (13.95,-0.05,14.05,2.45), (17.55,-0.05,17.65,2.45), (14.95,1.15,16.65,1.25), (8.75,6.95,15.25,7.16), (16.35,6.95,22.85,7.16), (8.75,8.44,15.25,8.65), (16.35,8.44,22.85,8.65), (10.55,9.35,10.65,9.45), (10.65,9.35,10.675,9.45), (10.675,9.35,12.925,9.45), (12.925,9.35,12.95,9.45), (12.95,9.35,13.05,9.45), (18.55,9.35,18.65,9.45), (18.65,9.35,18.675,9.45), (18.675,9.35,20.925,9.45), (20.925,9.35,20.95,9.45), (20.95,9.35,21.05,9.45), (14.05,9.75,14.075,9.85), (14.075,9.75,15.125,9.85), (15.125,9.75,15.15,9.85), (16.45,9.75,16.475,9.85), (16.475,9.75,17.525,9.85), (17.525,9.75,17.55,9.85), (10.75,12.15,10.85,12.25), (10.85,12.15,10.875,12.25), (10.875,12.15,15.125,12.25), (15.125,12.15,15.15,12.25), (15.15,12.15,15.25,12.25), (16.35,12.15,16.45,12.25), (16.45,12.15,16.475,12.25), (16.475,12.15,20.725,12.25), (20.725,12.15,20.75,12.25), (20.75,12.15,20.85,12.25)])
A(gm1_v5_practice_schemati, L34_0, 8.75, 7.16, 0.07, 0.14, 23, 1, 0.28, 0)
A(gm1_v5_practice_schemati, L34_0, 16.62, 7.16, 0.07, 0.14, 23, 1, 0.28, 0)
A(gm1_v5_practice_schemati, L34_0, 8.75, 7.3, 0.07, 1, 46, 1, 0.14, 0)
A(gm1_v5_practice_schemati, L34_0, 16.48, 7.3, 0.07, 1, 46, 1, 0.14, 0)
A(gm1_v5_practice_schemati, L34_0, 8.89, 8.3, 0.07, 0.14, 23, 1, 0.28, 0)
A(gm1_v5_practice_schemati, L34_0, 16.48, 8.3, 0.07, 0.14, 23, 1, 0.28, 0)
A(gm1_v5_practice_schemati, L34_0, 13.95, 9.75, 0.1, 0.1, 4, 1, 1.2, 0)
R(gm1_v5_practice_schemati, L34_0, [(2.55,-0.85,2.65,-0.75), (2.65,-0.85,2.675,-0.75), (2.675,-0.85,28.925,-0.75), (28.925,-0.85,28.95,-0.75), (28.95,-0.85,29.05,-0.75), (2.55,-0.75,2.65,-0.725), (28.95,-0.75,29.05,-0.725), (13.95,-0.05,14.05,2.45), (17.55,-0.05,17.65,2.45), (14.95,1.15,16.65,1.25), (8.75,6.95,15.25,7.16), (16.35,6.95,22.85,7.16), (8.75,8.44,15.25,8.65), (16.35,8.44,22.85,8.65), (10.55,9.35,10.65,9.45), (10.65,9.35,10.675,9.45), (10.675,9.35,12.925,9.45), (12.925,9.35,12.95,9.45), (12.95,9.35,13.05,9.45), (18.55,9.35,18.65,9.45), (18.65,9.35,18.675,9.45), (18.675,9.35,20.925,9.45), (20.925,9.35,20.95,9.45), (20.95,9.35,21.05,9.45), (14.05,9.75,14.075,9.85), (14.075,9.75,15.125,9.85), (15.125,9.75,15.15,9.85), (16.45,9.75,16.475,9.85), (16.475,9.75,17.525,9.85), (17.525,9.75,17.55,9.85), (10.75,12.15,10.85,12.25), (10.85,12.15,10.875,12.25), (10.875,12.15,15.125,12.25), (15.125,12.15,15.15,12.25), (15.15,12.15,15.25,12.25), (16.35,12.15,16.45,12.25), (16.45,12.15,16.475,12.25), (16.475,12.15,20.725,12.25), (20.725,12.15,20.75,12.25), (20.75,12.15,20.85,12.25)])
A(gm1_v5_practice_schemati, L35_0, 8.75, 7.16, 0.07, 0.14, 23, 1, 0.28, 0)
A(gm1_v5_practice_schemati, L35_0, 16.62, 7.16, 0.07, 0.14, 23, 1, 0.28, 0)
A(gm1_v5_practice_schemati, L35_0, 8.75, 7.3, 0.07, 1, 46, 1, 0.14, 0)
A(gm1_v5_practice_schemati, L35_0, 16.48, 7.3, 0.07, 1, 46, 1, 0.14, 0)
A(gm1_v5_practice_schemati, L35_0, 8.89, 8.3, 0.07, 0.14, 23, 1, 0.28, 0)
A(gm1_v5_practice_schemati, L35_0, 16.48, 8.3, 0.07, 0.14, 23, 1, 0.28, 0)
A(gm1_v5_practice_schemati, L35_0, 13.95, 9.75, 0.1, 0.1, 4, 1, 1.2, 0)
R(gm1_v5_practice_schemati, L35_0, [(2.55,-0.85,2.65,-0.75), (2.65,-0.85,2.675,-0.75), (2.675,-0.85,28.925,-0.75), (28.925,-0.85,28.95,-0.75), (28.95,-0.85,29.05,-0.75), (2.55,-0.75,2.65,-0.725), (28.95,-0.75,29.05,-0.725), (13.95,-0.05,14.05,2.45), (17.55,-0.05,17.65,2.45), (14.95,1.15,16.65,1.25), (8.75,6.95,15.25,7.16), (16.35,6.95,22.85,7.16), (8.75,8.44,15.25,8.65), (16.35,8.44,22.85,8.65), (10.55,9.35,10.65,9.45), (10.65,9.35,10.675,9.45), (10.675,9.35,12.925,9.45), (12.925,9.35,12.95,9.45), (12.95,9.35,13.05,9.45), (18.55,9.35,18.65,9.45), (18.65,9.35,18.675,9.45), (18.675,9.35,20.925,9.45), (20.925,9.35,20.95,9.45), (20.95,9.35,21.05,9.45), (14.05,9.75,14.075,9.85), (14.075,9.75,15.125,9.85), (15.125,9.75,15.15,9.85), (16.45,9.75,16.475,9.85), (16.475,9.75,17.525,9.85), (17.525,9.75,17.55,9.85), (10.75,12.15,10.85,12.25), (10.85,12.15,10.875,12.25), (10.875,12.15,15.125,12.25), (15.125,12.15,15.15,12.25), (15.15,12.15,15.25,12.25), (16.35,12.15,16.45,12.25), (16.45,12.15,16.475,12.25), (16.475,12.15,20.725,12.25), (20.725,12.15,20.75,12.25), (20.75,12.15,20.85,12.25)])
A(gm1_v5_practice_schemati, L36_0, 8.75, 7.16, 0.07, 0.14, 23, 1, 0.28, 0)
A(gm1_v5_practice_schemati, L36_0, 16.62, 7.16, 0.07, 0.14, 23, 1, 0.28, 0)
A(gm1_v5_practice_schemati, L36_0, 8.75, 7.3, 0.07, 1, 46, 1, 0.14, 0)
A(gm1_v5_practice_schemati, L36_0, 16.48, 7.3, 0.07, 1, 46, 1, 0.14, 0)
A(gm1_v5_practice_schemati, L36_0, 8.89, 8.3, 0.07, 0.14, 23, 1, 0.28, 0)
A(gm1_v5_practice_schemati, L36_0, 16.48, 8.3, 0.07, 0.14, 23, 1, 0.28, 0)
A(gm1_v5_practice_schemati, L36_0, 13.95, 9.75, 0.1, 0.1, 4, 1, 1.2, 0)
R(gm1_v5_practice_schemati, L36_0, [(-0.9,-3.9,32.5,-2.1), (13.75,-2.45,14.25,0.25), (15.95,-2.45,16.45,1.45), (17.35,-2.45,17.85,0.25), (18.15,-2.45,18.65,-0.55), (2.55,-0.85,2.65,-0.75), (2.65,-0.85,2.675,-0.75), (2.675,-0.85,28.925,-0.75), (28.925,-0.85,28.95,-0.75), (28.95,-0.85,29.05,-0.75), (2.55,-0.75,2.65,-0.725), (28.95,-0.75,29.05,-0.725), (13.95,-0.05,14.05,2.45), (17.55,-0.05,17.65,2.45), (14.95,1.15,16.65,1.25), (8.75,6.95,15.25,7.16), (16.35,6.95,22.85,7.16), (8.75,8.44,15.25,8.65), (16.35,8.44,22.85,8.65), (12.35,9.15,12.85,17.65), (18.75,9.15,19.25,17.65), (10.55,9.35,10.65,9.45), (10.65,9.35,10.675,9.45), (10.675,9.35,12.925,9.45), (12.925,9.35,12.95,9.45), (12.95,9.35,13.05,9.45), (18.55,9.35,18.65,9.45), (18.65,9.35,18.675,9.45), (18.675,9.35,20.925,9.45), (20.925,9.35,20.95,9.45), (20.95,9.35,21.05,9.45), (13.75,9.55,14.25,17.65), (17.35,9.55,17.85,17.65), (14.05,9.75,14.075,9.85), (14.075,9.75,15.125,9.85), (15.125,9.75,15.15,9.85), (16.45,9.75,16.475,9.85), (16.475,9.75,17.525,9.85), (17.525,9.75,17.55,9.85), (10.95,11.95,11.45,17.65), (20.15,11.95,20.65,17.65), (10.75,12.15,10.85,12.25), (10.85,12.15,10.875,12.25), (10.875,12.15,15.125,12.25), (15.125,12.15,15.15,12.25), (15.15,12.15,15.25,12.25), (16.35,12.15,16.45,12.25), (16.45,12.15,16.475,12.25), (16.475,12.15,20.725,12.25), (20.725,12.15,20.75,12.25), (20.75,12.15,20.85,12.25), (-0.9,17.375,32.5,19.175)])
A(gm1_v5_practice_schemati, L51_0, 2.725, -0.825, 0.05, 0.05, 175, 1, 0.15, 0)
A(gm1_v5_practice_schemati, L51_0, 13.975, -0.02, 0.05, 0.05, 1, 16, 0, 0.16)
A(gm1_v5_practice_schemati, L51_0, 17.575, -0.02, 0.05, 0.05, 1, 16, 0, 0.16)
A(gm1_v5_practice_schemati, L51_0, 15, 1.175, 0.05, 0.05, 11, 1, 0.155, 0)
A(gm1_v5_practice_schemati, L51_0, 10.7, 9.375, 0.05, 0.05, 14, 1, 0.165, 0)
A(gm1_v5_practice_schemati, L51_0, 18.705, 9.375, 0.05, 0.05, 14, 1, 0.165, 0)
A(gm1_v5_practice_schemati, L51_0, 14.1, 9.775, 0.05, 0.05, 6, 1, 0.19, 0)
A(gm1_v5_practice_schemati, L51_0, 16.5, 9.775, 0.05, 0.05, 6, 1, 0.19, 0)
A(gm1_v5_practice_schemati, L51_0, 10.95, 12.175, 0.05, 0.05, 28, 1, 0.15, 0)
A(gm1_v5_practice_schemati, L51_0, 16.55, 12.175, 0.05, 0.05, 28, 1, 0.15, 0)
R(gm1_v5_practice_schemati, L51_0, [(28.27,0.55,28.37,0.65), (28.43,0.55,28.53,0.65), (13.87,2.55,13.97,2.65), (14.03,2.55,14.13,2.65), (15.07,2.55,15.17,2.65), (15.23,2.55,15.33,2.65), (16.27,2.55,16.37,2.65), (16.43,2.55,16.53,2.65), (17.47,2.55,17.57,2.65), (17.63,2.55,17.73,2.65), (0.27,2.95,0.37,3.05), (0.43,2.95,0.53,3.05), (31.07,2.95,31.17,3.05), (31.23,2.95,31.33,3.05), (9.87,3.95,9.97,4.05), (10.03,3.95,10.13,4.05), (10.67,3.95,10.77,4.05), (10.83,3.95,10.93,4.05), (14.27,3.95,14.37,4.05), (14.43,3.95,14.53,4.05), (17.07,3.95,17.17,4.05), (17.23,3.95,17.33,4.05), (20.67,3.95,20.77,4.05), (20.83,3.95,20.93,4.05), (0.27,4.95,0.37,5.05), (0.43,4.95,0.53,5.05), (10.67,4.95,10.77,5.05), (10.83,4.95,10.93,5.05), (20.67,4.95,20.77,5.05), (20.83,4.95,20.93,5.05), (31.07,4.95,31.17,5.05), (31.23,4.95,31.33,5.05), (14.27,6.75,14.37,6.85), (14.43,6.75,14.53,6.85), (15.27,6.75,15.37,6.85), (15.43,6.75,15.53,6.85), (16.07,6.75,16.17,6.85), (16.23,6.75,16.33,6.85), (17.07,6.75,17.17,6.85), (17.23,6.75,17.33,6.85), (21.07,6.95,21.17,7.05), (21.23,6.95,21.33,7.05), (13.07,8.55,13.17,8.65), (13.23,8.55,13.33,8.65), (18.27,8.55,18.37,8.65), (18.43,8.55,18.53,8.65), (20.67,10.95,20.77,11.05), (20.83,10.95,20.93,11.05), (29.27,10.95,29.37,11.05), (29.43,10.95,29.53,11.05)])
A(gm1_v5_practice_schemati, L52_0, 2.725, -0.825, 0.05, 0.05, 175, 1, 0.15, 0)
A(gm1_v5_practice_schemati, L52_0, 13.975, -0.02, 0.05, 0.05, 1, 16, 0, 0.16)
A(gm1_v5_practice_schemati, L52_0, 17.575, -0.02, 0.05, 0.05, 1, 16, 0, 0.16)
A(gm1_v5_practice_schemati, L52_0, 15, 1.175, 0.05, 0.05, 11, 1, 0.155, 0)
A(gm1_v5_practice_schemati, L52_0, 8.845, 7.02, 0.07, 0.07, 40, 2, 0.16, 1.49)
A(gm1_v5_practice_schemati, L52_0, 16.445, 7.02, 0.07, 0.07, 40, 2, 0.16, 1.49)
A(gm1_v5_practice_schemati, L52_0, 10.7, 9.375, 0.05, 0.05, 14, 1, 0.165, 0)
A(gm1_v5_practice_schemati, L52_0, 18.705, 9.375, 0.05, 0.05, 14, 1, 0.165, 0)
A(gm1_v5_practice_schemati, L52_0, 14.1, 9.775, 0.05, 0.05, 6, 1, 0.19, 0)
A(gm1_v5_practice_schemati, L52_0, 16.5, 9.775, 0.05, 0.05, 6, 1, 0.19, 0)
A(gm1_v5_practice_schemati, L52_0, 10.95, 12.175, 0.05, 0.05, 28, 1, 0.15, 0)
A(gm1_v5_practice_schemati, L52_0, 16.55, 12.175, 0.05, 0.05, 28, 1, 0.15, 0)
A(gm1_v5_practice_schemati, L53_0, 2.725, -0.825, 0.05, 0.05, 175, 1, 0.15, 0)
A(gm1_v5_practice_schemati, L53_0, 13.975, -0.02, 0.05, 0.05, 1, 16, 0, 0.16)
A(gm1_v5_practice_schemati, L53_0, 17.575, -0.02, 0.05, 0.05, 1, 16, 0, 0.16)
A(gm1_v5_practice_schemati, L53_0, 15, 1.175, 0.05, 0.05, 11, 1, 0.155, 0)
A(gm1_v5_practice_schemati, L53_0, 8.925, 7.02, 0.07, 0.07, 39, 2, 0.16, 1.49)
A(gm1_v5_practice_schemati, L53_0, 16.525, 7.02, 0.07, 0.07, 39, 2, 0.16, 1.49)
A(gm1_v5_practice_schemati, L53_0, 10.7, 9.375, 0.05, 0.05, 14, 1, 0.165, 0)
A(gm1_v5_practice_schemati, L53_0, 18.705, 9.375, 0.05, 0.05, 14, 1, 0.165, 0)
A(gm1_v5_practice_schemati, L53_0, 14.1, 9.775, 0.05, 0.05, 6, 1, 0.19, 0)
A(gm1_v5_practice_schemati, L53_0, 16.5, 9.775, 0.05, 0.05, 6, 1, 0.19, 0)
A(gm1_v5_practice_schemati, L53_0, 10.95, 12.175, 0.05, 0.05, 28, 1, 0.15, 0)
A(gm1_v5_practice_schemati, L53_0, 16.55, 12.175, 0.05, 0.05, 28, 1, 0.15, 0)
A(gm1_v5_practice_schemati, L54_0, 2.725, -0.825, 0.05, 0.05, 175, 1, 0.15, 0)
A(gm1_v5_practice_schemati, L54_0, 13.975, -0.02, 0.05, 0.05, 1, 16, 0, 0.16)
A(gm1_v5_practice_schemati, L54_0, 17.575, -0.02, 0.05, 0.05, 1, 16, 0, 0.16)
A(gm1_v5_practice_schemati, L54_0, 15, 1.175, 0.05, 0.05, 11, 1, 0.155, 0)
A(gm1_v5_practice_schemati, L54_0, 8.845, 7.02, 0.07, 0.07, 40, 2, 0.16, 1.49)
A(gm1_v5_practice_schemati, L54_0, 16.445, 7.02, 0.07, 0.07, 40, 2, 0.16, 1.49)
A(gm1_v5_practice_schemati, L54_0, 10.7, 9.375, 0.05, 0.05, 14, 1, 0.165, 0)
A(gm1_v5_practice_schemati, L54_0, 18.705, 9.375, 0.05, 0.05, 14, 1, 0.165, 0)
A(gm1_v5_practice_schemati, L54_0, 14.1, 9.775, 0.05, 0.05, 6, 1, 0.19, 0)
A(gm1_v5_practice_schemati, L54_0, 16.5, 9.775, 0.05, 0.05, 6, 1, 0.19, 0)
A(gm1_v5_practice_schemati, L54_0, 10.95, 12.175, 0.05, 0.05, 28, 1, 0.15, 0)
A(gm1_v5_practice_schemati, L54_0, 16.55, 12.175, 0.05, 0.05, 28, 1, 0.15, 0)
A(gm1_v5_practice_schemati, L55_0, 2.725, -0.825, 0.05, 0.05, 175, 1, 0.15, 0)
A(gm1_v5_practice_schemati, L55_0, 13.975, -0.02, 0.05, 0.05, 1, 16, 0, 0.16)
A(gm1_v5_practice_schemati, L55_0, 17.575, -0.02, 0.05, 0.05, 1, 16, 0, 0.16)
A(gm1_v5_practice_schemati, L55_0, 15, 1.175, 0.05, 0.05, 11, 1, 0.155, 0)
A(gm1_v5_practice_schemati, L55_0, 8.925, 7.02, 0.07, 0.07, 39, 2, 0.16, 1.49)
A(gm1_v5_practice_schemati, L55_0, 16.525, 7.02, 0.07, 0.07, 39, 2, 0.16, 1.49)
A(gm1_v5_practice_schemati, L55_0, 10.7, 9.375, 0.05, 0.05, 14, 1, 0.165, 0)
A(gm1_v5_practice_schemati, L55_0, 18.705, 9.375, 0.05, 0.05, 14, 1, 0.165, 0)
A(gm1_v5_practice_schemati, L55_0, 14.1, 9.775, 0.05, 0.05, 6, 1, 0.19, 0)
A(gm1_v5_practice_schemati, L55_0, 16.5, 9.775, 0.05, 0.05, 6, 1, 0.19, 0)
A(gm1_v5_practice_schemati, L55_0, 10.95, 12.175, 0.05, 0.05, 28, 1, 0.15, 0)
A(gm1_v5_practice_schemati, L55_0, 16.55, 12.175, 0.05, 0.05, 28, 1, 0.15, 0)
R(gm1_v5_practice_schemati, L67_0, [(14.875,0.095,16.725,1.2)])
A(gm1_v5_practice_schemati, L115_1, 3.425, 0.15, 6.6, 0.4, 1, 9, 0, 0.65)
A(gm1_v5_practice_schemati, L115_1, 21.575, 0.15, 6.6, 0.4, 1, 9, 0, 0.65)
R(gm1_v5_practice_schemati, L117_0, [(2.925,-0.05,10.675,5.95), (20.925,-0.05,28.675,5.95)])
R(gm1_v5_practice_schemati, L150_2, [(8.75,6.95,15.25,8.65), (16.35,6.95,22.85,8.65)])
R(gm1_v5_practice_schemati, L150_3, [(8.75,6.95,15.25,8.65), (16.35,6.95,22.85,8.65)])
R(gm1_v5_practice_schemati, L150_4, [(8.75,6.95,15.25,8.65), (16.35,6.95,22.85,8.65)])
R(gm1_v5_practice_schemati, L150_5, [(8.75,6.95,15.25,8.65), (16.35,6.95,22.85,8.65)])
R(gm1_v5_practice_schemati, L150_6, [(8.75,6.95,15.25,8.65), (16.35,6.95,22.85,8.65)])
R(gm1_v5_practice_schemati, L155_2, [(8.745,7.16,15.255,8.44), (16.345,7.16,22.855,8.44)])
R(gm1_v5_practice_schemati, L155_3, [(8.745,7.16,15.255,8.44), (16.345,7.16,22.855,8.44)])
R(gm1_v5_practice_schemati, L155_4, [(8.745,7.16,15.255,8.44), (16.345,7.16,22.855,8.44)])
R(gm1_v5_practice_schemati, L155_5, [(8.745,7.16,15.255,8.44), (16.345,7.16,22.855,8.44)])
R(gm1_v5_practice_schemati, L155_6, [(8.745,7.16,15.255,8.44), (16.345,7.16,22.855,8.44)])
R(gm1_v5_practice_schemati, L155_27, [(8.745,7.16,15.255,8.44), (16.345,7.16,22.855,8.44)])
R(gm1_v5_practice_schemati, L155_100, [(8.745,7.16,15.255,8.44), (16.345,7.16,22.855,8.44)])
R(gm1_v5_practice_schemati, L208_1, [(11.475,-0.2,14.125,2.6), (17.475,-0.2,20.125,2.6), (14.875,0.095,16.725,1.2), (11.675,4.075,15.125,4.8), (16.475,4.075,19.925,4.8), (10.875,9.915,12.725,10.8), (18.875,9.915,20.725,10.8), (14.275,10.115,14.925,11), (16.675,10.115,17.325,11), (11.075,12.55,14.925,15.8), (16.675,12.55,20.525,15.8)])

lib.write_gds('Gm1_v5_Practice_schematic_flat.gds')
